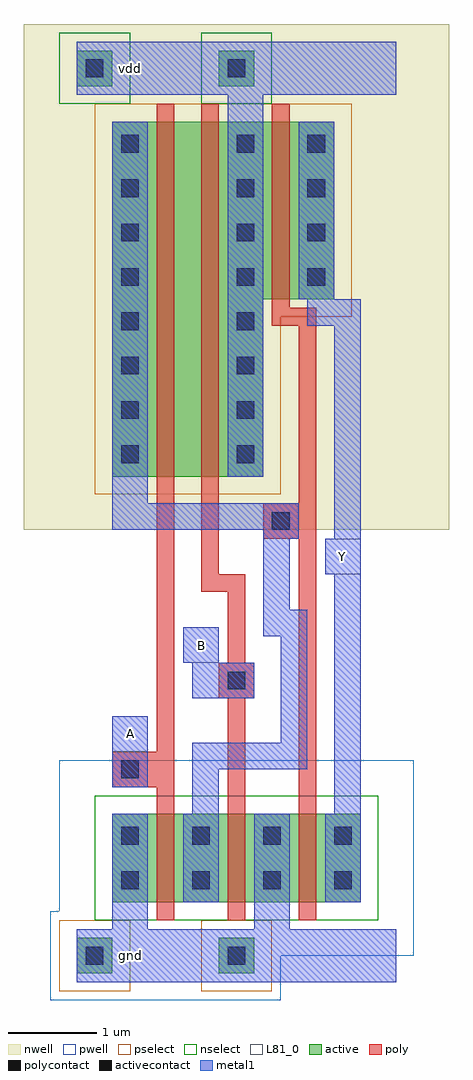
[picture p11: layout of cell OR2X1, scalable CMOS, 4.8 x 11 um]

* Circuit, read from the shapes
.subckt OR2X1 A B Y gnd vdd
M1 n1 A gnd gnd nfet w=1u l=0.2u
M2 gnd B n1 gnd nfet w=1u l=0.2u
M3 Y n1 gnd gnd nfet w=1u l=0.2u
M4 n2 A n1 vdd pfet w=4u l=0.2u
M5 vdd B n2 vdd pfet w=4u l=0.2u
M6 Y n1 vdd vdd pfet w=2u l=0.2u
.ends

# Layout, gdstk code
import gdstk
lib = gdstk.Library(unit=1e-6, precision=1e-09)
def R(c, l, rs):  # rectangles x0, y0, x1, y1
    for r in rs: c.add(gdstk.rectangle(r[:2], r[2:], *l))
def A(c, l, x, y, w, h, nx, ny, dx, dy):  # array of equal rectangles
    R(c, l, [(x+i*dx, y+j*dy, x+i*dx+w, y+j*dy+h) for i in range(nx) for j in range(ny)])
pwell = (41, 0)
nwell = (42, 0)
active = (43, 0)
pselect = (44, 0)
nselect = (45, 0)
poly = (46, 0)
polycontact = (47, 0)
activecontact = (48, 0)
metal1 = (49, 0)
L81_0 = (81, 0)

or2x1 = lib.new_cell('OR2X1')
R(or2x1, pwell, [(-0.5,-0.5,2.1,0), (-0.5,0,3.6,0.5), (-0.4,0.5,3.6,2.2)])
R(or2x1, nwell, [(-0.8,4.8,4,10.5)])
R(or2x1, active, [(-0.2,-0.2,0.2,0.2), (1.4,-0.2,1.8,0.2), (0.2,0.6,3,1.6), (0.2,5.4,1.9,7.4), (0.2,7.4,2.7,9.4), (-0.2,9.8,0.2,10.2), (1.4,9.8,1.8,10.2)])
R(or2x1, pselect, [(-0.4,-0.4,0.4,0.4), (1.2,-0.4,2,0.4), (0,5.2,2.1,7.2), (0,7.2,2.9,9.6)])
R(or2x1, nselect, [(0,0.4,3.2,1.8), (-0.4,9.6,0.4,10.4), (1.2,9.6,2,10.4)])
R(or2x1, poly, [(0.7,0.4,0.9,1.9), (1.5,0.4,1.7,2.9), (2.3,0.4,2.5,4.7), (0.2,1.9,0.9,2.3), (0.7,2.3,0.9,9.6), (1.4,2.9,1.8,3.3), (1.5,3.3,1.7,4.1), (1.2,4.1,1.7,4.3), (1.2,4.3,1.4,9.6), (1.9,4.7,2.5,5.1), (2.3,5.1,2.5,7.1), (2,7.1,2.5,7.3), (2,7.3,2.2,9.6)])
R(or2x1, polycontact, [(0.3,2,0.5,2.2), (1.5,3,1.7,3.2), (2,4.8,2.2,5)])
A(or2x1, activecontact, 0.3, 0.75, 0.2, 0.2, 4, 2, 0.8, 0.5)
A(or2x1, activecontact, 0.3, 5.55, 0.2, 0.2, 1, 8, 0, 0.5)
A(or2x1, activecontact, 1.6, 5.55, 0.2, 0.2, 1, 8, 0, 0.5)
A(or2x1, activecontact, 2.4, 7.55, 0.2, 0.2, 1, 4, 0, 0.5)
R(or2x1, activecontact, [(-0.1,-0.1,0.1,0.1), (1.5,-0.1,1.7,0.1), (-0.1,9.9,0.1,10.1), (1.5,9.9,1.7,10.1)])
R(or2x1, metal1, [(-0.2,-0.3,3.4,0.3), (0.2,0.3,0.6,1.6), (1.8,0.3,2.2,1.6), (1,0.6,1.4,1.6), (2.6,0.6,3,1.6), (1.1,1.6,1.4,2.1), (2.7,1.6,3,4.3), (0.2,1.9,0.6,2.7), (1.1,2.1,2.4,2.4), (2.1,2.4,2.4,3.6), (1.1,2.9,1.8,3.3), (1,3.3,1.4,3.7), (1.9,3.6,2.4,3.9), (1.9,3.9,2.2,4.7), (2.6,4.3,3,4.7), (1.9,4.7,2.3,4.8), (2.7,4.7,3,7.1), (0.2,4.8,2.3,5.1), (0.2,5.1,0.6,9.4), (1.5,5.4,1.9,9.7), (2.4,7.1,3,7.4), (2.3,7.4,2.7,9.4), (-0.2,9.7,3.4,10.3)])
R(or2x1, L81_0, [(0.2,2.3,0.6,2.7), (1,3.3,1.4,3.7), (2.6,4.3,3,4.7)])
or2x1.add(gdstk.Label('Y', (2.8,4.5), layer=49, texttype=0))
or2x1.add(gdstk.Label('B', (1.2,3.5), layer=49, texttype=0))
or2x1.add(gdstk.Label('vdd', (0.4,10), layer=49, texttype=0))
or2x1.add(gdstk.Label('gnd', (0.4,0), layer=49, texttype=0))
or2x1.add(gdstk.Label('A', (0.4,2.5), layer=49, texttype=0))

lib.write_gds('OR2X1.gds')
